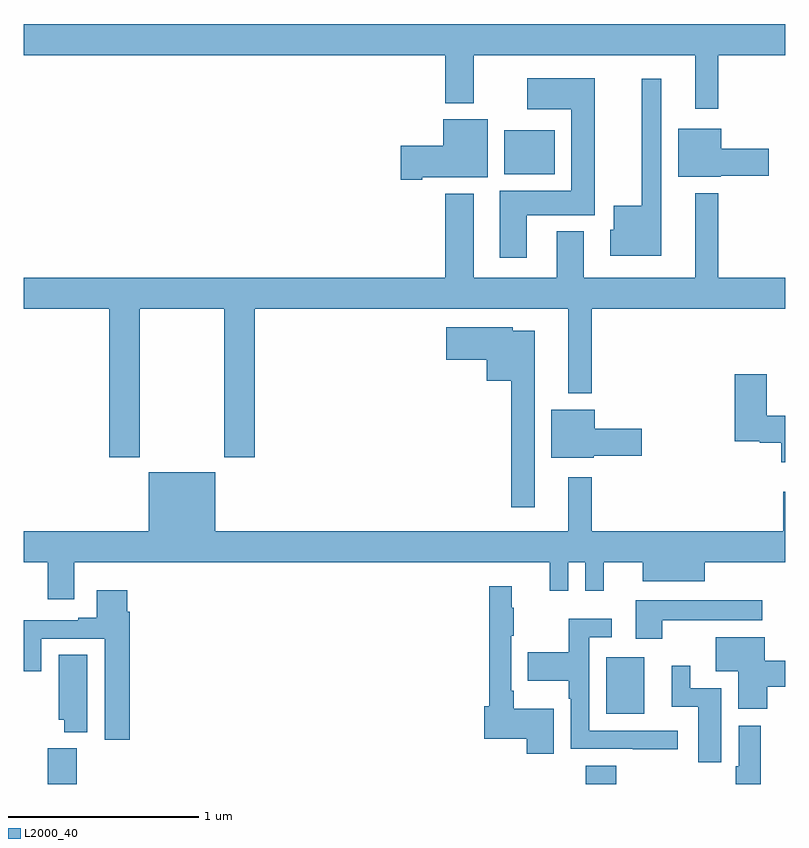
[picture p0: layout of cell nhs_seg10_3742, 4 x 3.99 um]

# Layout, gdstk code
import gdstk
lib = gdstk.Library(unit=1e-6, precision=1e-09)
def R(c, l, rs):  # rectangles x0, y0, x1, y1
    for r in rs: c.add(gdstk.rectangle(r[:2], r[2:], *l))
def P(c, l, *ps):  # polygons
    for p in ps: c.add(gdstk.Polygon(p, *l))
L2000_40 = (2000, 40)

nhs_seg10_3742 = lib.new_cell('nhs_seg10_3742')
R(nhs_seg10_3742, L2000_40, [(315.125,1284.5,315.278,1284.688), (317.951,1284.5,318.111,1284.595), (318.059,1284.869,318.259,1285.165), (317.525,1287.704,317.788,1287.934)])
P(nhs_seg10_3742, L2000_40, [(318.649,1288.328),(319,1288.328),(319,1288.492),(315,1288.492),(315,1288.328),(317.213,1288.328),(317.213,1288.076),(317.365,1288.076),(317.365,1288.328),(318.527,1288.328),(318.527,1288.047),(318.649,1288.047)],
  [(317.641,1287.488),(317.998,1287.488),(317.998,1288.207),(317.646,1288.207),(317.646,1288.043),(317.876,1288.043),(317.876,1287.616),(317.501,1287.616),(317.501,1287.264),(317.641,1287.264)],
  [(318.349,1288.204),(318.245,1288.204),(318.245,1287.538),(318.098,1287.538),(318.098,1287.411),(318.08,1287.411),(318.08,1287.275),(318.349,1287.275)],
  [(317.092,1287.686),(317.437,1287.686),(317.437,1287.991),(317.204,1287.991),(317.204,1287.852),(316.98,1287.852),(316.98,1287.674),(317.092,1287.674)],
  [(318.66,1287.695),(318.913,1287.695),(318.913,1287.837),(318.664,1287.837),(318.664,1287.943),(318.437,1287.943),(318.437,1287.689),(318.66,1287.689)],
  [(315.609,1286.996),(316.054,1286.996),(316.054,1286.217),(316.214,1286.217),(316.214,1286.996),(317.861,1286.996),(317.861,1286.552),(317.983,1286.552),(317.983,1286.996),(319,1286.996),(319,1287.16),(318.649,1287.16),(318.649,1287.604),(318.527,1287.604),(318.527,1287.16),(317.941,1287.16),(317.941,1287.403),(317.801,1287.403),(317.801,1287.16),(317.365,1287.16),(317.365,1287.601),(317.213,1287.601),(317.213,1287.16),(315,1287.16),(315,1286.996),(315.449,1286.996),(315.449,1286.217),(315.609,1286.217)],
  [(317.683,1286.881),(317.568,1286.881),(317.568,1286.899),(317.22,1286.899),(317.22,1286.729),(317.432,1286.729),(317.432,1286.618),(317.562,1286.618),(317.562,1285.953),(317.683,1285.953)],
  [(319,1286.435),(318.904,1286.435),(318.904,1286.653),(318.734,1286.653),(318.734,1286.3),(318.867,1286.3),(318.867,1286.293),(318.98,1286.293),(318.98,1286.189),(319,1286.189)],
  [(317.994,1286.224),(318.247,1286.224),(318.247,1286.366),(317.998,1286.366),(317.998,1286.467),(317.771,1286.467),(317.771,1286.213),(317.994,1286.213)],
  [(315.265,1285.664),(317.762,1285.664),(317.762,1285.515),(317.859,1285.515),(317.859,1285.664),(317.949,1285.664),(317.949,1285.515),(318.047,1285.515),(318.047,1285.664),(318.251,1285.664),(318.251,1285.565),(318.577,1285.565),(318.577,1285.664),(319,1285.664),(319,1286.035),(318.989,1286.035),(318.989,1285.828),(317.983,1285.828),(317.983,1286.11),(317.861,1286.11),(317.861,1285.828),(316.006,1285.828),(316.006,1286.137),(315.656,1286.137),(315.656,1285.828),(315,1285.828),(315,1285.664),(315.125,1285.664),(315.125,1285.47),(315.265,1285.47)],
  [(317.785,1284.895),(317.575,1284.895),(317.575,1284.991),(317.562,1284.991),(317.562,1285.279),(317.575,1285.279),(317.575,1285.427),(317.564,1285.427),(317.564,1285.54),(317.446,1285.54),(317.446,1284.908),(317.42,1284.908),(317.42,1284.737),(317.642,1284.737),(317.642,1284.66),(317.785,1284.66)],
  [(315.557,1285.406),(315.544,1285.406),(315.544,1285.519),(315.383,1285.519),(315.383,1285.372),(315.287,1285.372),(315.287,1285.359),(315,1285.359),(315,1285.092),(315.091,1285.092),(315.091,1285.263),(315.425,1285.263),(315.425,1284.732),(315.557,1284.732)],
  [(318.355,1285.361),(318.88,1285.361),(318.88,1285.465),(318.215,1285.465),(318.215,1285.263),(318.355,1285.263)],
  [(318.436,1284.78),(317.97,1284.78),(317.97,1285.272),(318.088,1285.272),(318.088,1285.369),(317.862,1285.369),(317.862,1285.191),(317.647,1285.191),(317.647,1285.043),(317.862,1285.043),(317.862,1284.947),(317.874,1284.947),(317.874,1284.684),(318.199,1284.684),(318.199,1284.683),(318.436,1284.683)],
  [(318.905,1285.012),(319,1285.012),(319,1285.148),(318.892,1285.148),(318.892,1285.27),(318.635,1285.27),(318.635,1285.091),(318.752,1285.091),(318.752,1284.894),(318.905,1284.894)],
  [(315.334,1285.178),(315.185,1285.178),(315.185,1284.837),(315.212,1284.837),(315.212,1284.773),(315.334,1284.773)],
  [(318.663,1284.727),(318.664,1284.727),(318.664,1285.002),(318.502,1285.002),(318.502,1285.12),(318.404,1285.12),(318.404,1284.906),(318.542,1284.906),(318.542,1284.615),(318.663,1284.615)],
  [(318.872,1284.805),(318.756,1284.805),(318.756,1284.592),(318.741,1284.592),(318.741,1284.5),(318.872,1284.5)])

lib.write_gds('nhs_seg10_3742.gds')
